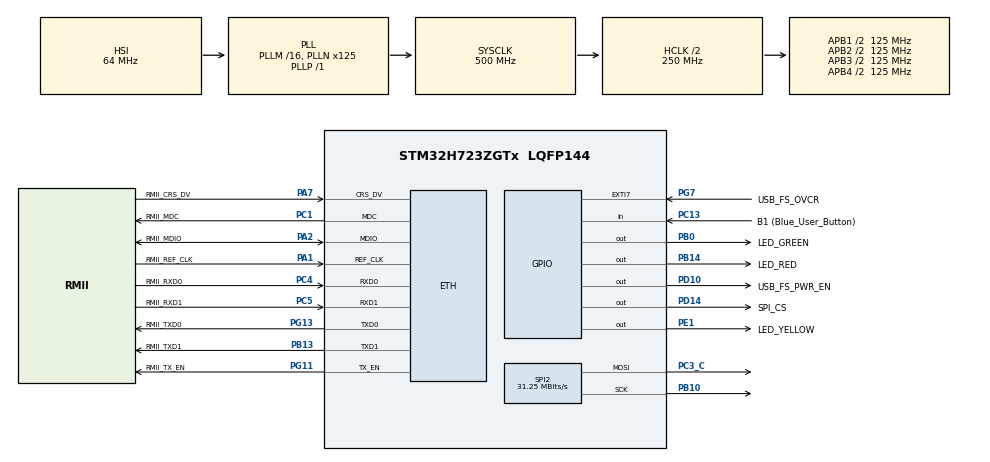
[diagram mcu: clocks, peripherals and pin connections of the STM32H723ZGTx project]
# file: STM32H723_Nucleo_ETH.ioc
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CORTEX_M7.AccessPermission_S-Cortex_Memory_Protection_Unit_Region1_Settings_S=MPU_REGION_FULL_ACCESS
CORTEX_M7.AccessPermission_S-Cortex_Memory_Protection_Unit_Region2_Settings_S=MPU_REGION_FULL_ACCESS
CORTEX_M7.BaseAddress_S-Cortex_Memory_Protection_Unit_Region1_Settings_S=0x30000000
CORTEX_M7.BaseAddress_S-Cortex_Memory_Protection_Unit_Region2_Settings_S=0x30000000
CORTEX_M7.CPU_DCache=Enabled
CORTEX_M7.CPU_ICache=Enabled
CORTEX_M7.DisableExec_S-Cortex_Memory_Protection_Unit_Region1_Settings_S=MPU_INSTRUCTION_ACCESS_DISABLE
CORTEX_M7.DisableExec_S-Cortex_Memory_Protection_Unit_Region2_Settings_S=MPU_INSTRUCTION_ACCESS_DISABLE
CORTEX_M7.Enable_S-Cortex_Memory_Protection_Unit_Region1_Settings_S=MPU_REGION_ENABLE
CORTEX_M7.Enable_S-Cortex_Memory_Protection_Unit_Region2_Settings_S=MPU_REGION_ENABLE
CORTEX_M7.IsBufferable_S-Cortex_Memory_Protection_Unit_Region2_Settings_S=MPU_ACCESS_BUFFERABLE
CORTEX_M7.IsShareable_S-Cortex_Memory_Protection_Unit_Region2_Settings_S=MPU_ACCESS_SHAREABLE
CORTEX_M7.Size_S-Cortex_Memory_Protection_Unit_Region1_Settings_S=MPU_REGION_SIZE_32KB
CORTEX_M7.Size_S-Cortex_Memory_Protection_Unit_Region2_Settings_S=MPU_REGION_SIZE_512B
CORTEX_M7.TypeExtField_S-Cortex_Memory_Protection_Unit_Region1_Settings_S=MPU_TEX_LEVEL1
CORTEX_M7.default_mode_Activation=1
ETH.MediaInterface=HAL_ETH_RMII_MODE
ETH.RxBuffAddress=0x30000200
ETH.RxBuffLen=1536
ETH.TxDescAddress=0x30000100
FREERTOS.Queues01=mySPIQueue,16,uint16_t,0,Dynamic,NULL,NULL
FREERTOS.Tasks01=defaultTask,24,512,StartDefaultTask,Default,NULL,Dynamic,NULL,NULL;SPITask,32,512,StartSPITask,Default,NULL,Dynamic,NULL,NULL
FREERTOS.configCHECK_FOR_STACK_OVERFLOW=1
FREERTOS.configMINIMAL_STACK_SIZE=512
FREERTOS.configTOTAL_HEAP_SIZE=30*1024
FREERTOS.configUSE_NEWLIB_REENTRANT=1
LWIP.BSP.number=1
LWIP.DEFAULT_THREAD_STACKSIZE=2048
LWIP.IP_ADDRESS=192.168.001.010
LWIP.LWIP_DHCP=0
LWIP.LWIP_RAM_HEAP_POINTER=0x30000200
LWIP.MEM_SIZE=32232
LWIP.NETMASK_ADDRESS=255.255.255.000
LWIP.TCPIP_THREAD_STACKSIZE=2048
LWIP.TCP_MSS=1460
LWIP.TCP_SND_BUF=5840
LWIP.TCP_SND_QUEUELEN=16
LWIP.Version=v2.1.2_Cube
LWIP0.BSP.STBoard=false
LWIP0.BSP.api=BSP_COMPONENT_DRIVER
LWIP0.BSP.component=LAN8742
LWIP0.BSP.instance=LAN8742
LWIP0.BSP.name=Driver_PHY
LWIP0.BSP.semaphore=S_LAN8742
LWIP0.BSP.solution=LAN8742
Mcu.Family=STM32H7
Mcu.Name=STM32H723ZGTx
Mcu.Package=LQFP144
NVIC.ETH_IRQn=true\:5\:0\:false\:false\:true\:true\:true\:true\:true
NVIC.PriorityGroup=NVIC_PRIORITYGROUP_4
NVIC.TIM6_DAC_IRQn=true\:15\:0\:false\:false\:true\:false\:false\:true\:true
NVIC.TimeBase=TIM6_DAC_IRQn
NVIC.TimeBaseIP=TIM6
PA1.GPIO_Label=RMII_REF_CLK
PA1.GPIO_Speed=GPIO_SPEED_FREQ_VERY_HIGH
PA1.Mode=RMII
PA1.Signal=ETH_REF_CLK
PA10.GPIO_Label=USB_FS_ID
PA10.Signal=USB_OTG_HS_ID
PA13(JTMS/SWDIO).GPIO_Label=SWDIO
PA13(JTMS/SWDIO).Signal=DEBUG_JTMS-SWDIO
PA14(JTCK/SWCLK).GPIO_Label=SWCLK
PA14(JTCK/SWCLK).Signal=DEBUG_JTCK-SWCLK
PA2.GPIO_Label=RMII_MDIO
PA2.GPIO_Speed=GPIO_SPEED_FREQ_VERY_HIGH
PA2.Mode=RMII
PA2.Signal=ETH_MDIO
PA7.GPIO_Label=RMII_CRS_DV
PA7.GPIO_Speed=GPIO_SPEED_FREQ_VERY_HIGH
PA7.Mode=RMII
PA7.Signal=ETH_CRS_DV
PA9.GPIO_Label=USB_FS_VBUS
PA9.Signal=USB_OTG_HS_VBUS
PB0.GPIO_Label=LED_GREEN
PB0.Signal=GPIO_Output
PB10.Mode=TX_Only_Simplex_Unidirect_Master
PB10.Signal=SPI2_SCK
PB13.GPIO_Label=RMII_TXD1
PB13.GPIO_Speed=GPIO_SPEED_FREQ_VERY_HIGH
PB13.Mode=RMII
PB13.Signal=ETH_TXD1
PB14.GPIO_Label=LED_RED
PB14.Signal=GPIO_Output
PB3(JTDO/TRACESWO).GPIO_Label=SWO
PB3(JTDO/TRACESWO).Signal=DEBUG_JTDO-SWO
PC1.GPIO_Label=RMII_MDC
PC1.GPIO_Speed=GPIO_SPEED_FREQ_VERY_HIGH
PC1.Mode=RMII
PC1.Signal=ETH_MDC
PC13.GPIO_Label=B1 (Blue_User_Button)
PC13.Signal=GPIO_Input
PC14-OSC32_IN.Signal=RCC_OSC32_IN
PC15-OSC32_OUT.Signal=RCC_OSC32_OUT
PC3_C.Mode=TX_Only_Simplex_Unidirect_Master
PC3_C.Signal=SPI2_MOSI
PC4.GPIO_Label=RMII_RXD0
PC4.GPIO_Speed=GPIO_SPEED_FREQ_VERY_HIGH
PC4.Mode=RMII
PC4.Signal=ETH_RXD0
PC5.GPIO_Label=RMII_RXD1
PC5.GPIO_Speed=GPIO_SPEED_FREQ_VERY_HIGH
PC5.Mode=RMII
PC5.Signal=ETH_RXD1
PD10.GPIO_Label=USB_FS_PWR_EN
PD10.Signal=GPIO_Output
PD14.GPIO_Label=SPI_CS
PD14.PinState=GPIO_PIN_SET
PD14.Signal=GPIO_Output
PD8.GPIO_Label=STLK_VCP_RX
PD8.Signal=USART3_TX
PD9.GPIO_Label=STLK_VCP_TX
PD9.Signal=USART3_RX
PE1.GPIO_Label=LED_YELLOW
PE1.Signal=GPIO_Output
PG11.GPIO_Label=RMII_TX_EN
PG11.GPIO_Speed=GPIO_SPEED_FREQ_VERY_HIGH
PG11.Mode=RMII
PG11.Signal=ETH_TX_EN
PG13.GPIO_Label=RMII_TXD0
PG13.GPIO_Speed=GPIO_SPEED_FREQ_VERY_HIGH
PG13.Mode=RMII
PG13.Signal=ETH_TXD0
PG7.GPIO_Label=USB_FS_OVCR
PG7.Signal=GPXTI7
PH0-OSC_IN.GPIO_Label=MCO
PH0-OSC_IN.Signal=RCC_OSC_IN
PH1-OSC_OUT.Signal=RCC_OSC_OUT
ProjectManager.HeapSize=0x200
ProjectManager.StackSize=0x400
ProjectManager.TargetToolchain=STM32CubeIDE
RCC.ADCFreq_Value=608000000
RCC.APB1Freq_Value=125000000
RCC.APB2Freq_Value=125000000
RCC.APB3Freq_Value=125000000
RCC.APB4Freq_Value=125000000
RCC.CortexFreq_Value=500000000
RCC.D1PPRE=RCC_APB3_DIV2
RCC.D2PPRE1=RCC_APB1_DIV2
RCC.D2PPRE2=RCC_APB2_DIV2
RCC.D3PPRE=RCC_APB4_DIV2
RCC.DIVM1=16
RCC.DIVM2=1
RCC.DIVN1=125
RCC.DIVN2=19
RCC.DIVP1=1
RCC.DIVQ1=4
RCC.HCLKFreq_Value=250000000
RCC.HPRE=RCC_HCLK_DIV2
RCC.HSE_VALUE=8000000
RCC.PLLFRACN=0
RCC.SYSCLKFreq_VALUE=500000000
RCC.SYSCLKSource=RCC_SYSCLKSOURCE_PLLCLK
RCC.USBCLockSelection=RCC_USBCLKSOURCE_HSI48
RCC.USBFreq_Value=48000000
SPI2.BaudRatePrescaler=SPI_BAUDRATEPRESCALER_4
SPI2.CalculateBaudRate=31.25 MBits/s
SPI2.DataSize=SPI_DATASIZE_8BIT
SPI2.Direction=SPI_DIRECTION_2LINES_TXONLY
SPI2.Mode=SPI_MODE_MASTER
SPI2.VirtualType=VM_MASTER
VP_FREERTOS_VS_CMSIS_V2.Mode=CMSIS_V2
VP_LWIP_VS_Enabled.Mode=Enabled
VP_SYS_VS_tim6.Mode=TIM6
board=NUCLEO-H723ZG

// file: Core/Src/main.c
/* USER CODE BEGIN Header */
/**
  ******************************************************************************
  * @file           : main.c
  * @brief          : Main program body
  ******************************************************************************
  * @attention
  *
  * Copyright (c) 2022 STMicroelectronics.
  * All rights reserved.
  *
  * This software is licensed under terms that can be found in the LICENSE file
  * in the root directory of this software component.
  * If no LICENSE file comes with this software, it is provided AS-IS.
  *
  ******************************************************************************
  */
/* USER CODE END Header */
#include "main.h"
#include "cmsis_os.h"
#include "lwip.h"

/* USER CODE BEGIN Includes */
/* ETH_CODE: add lwiperf, see comment in StartDefaultTask function */
#include "lwip/apps/lwiperf.h"
#include "lwip/udp.h"
#include <string.h>
/* USER CODE END Includes */

/* USER CODE BEGIN PTD */
#define SPI_BUFFER_SIZE 128 // Adjust this based on your max packet size

typedef struct {
    uint8_t buffer[SPI_BUFFER_SIZE];
    uint16_t len;
} AppSpiMsg_t;
/* USER CODE END PTD */

SPI_HandleTypeDef hspi2;

/* Definitions for defaultTask */
osThreadId_t defaultTaskHandle;
const osThreadAttr_t defaultTask_attributes = {
  .name = "defaultTask",
  .stack_size = 512 * 4,
  .priority = (osPriority_t) osPriorityNormal,
};
/* Definitions for SPITask */
osThreadId_t SPITaskHandle;
const osThreadAttr_t SPITask_attributes = {
  .name = "SPITask",
  .stack_size = 512 * 4,
  .priority = (osPriority_t) osPriorityAboveNormal,
};
/* Definitions for mySPIQueue */
osMessageQueueId_t mySPIQueueHandle;
const osMessageQueueAttr_t mySPIQueue_attributes = {
  .name = "mySPIQueue"
};

void SystemClock_Config(void);
static void MPU_Config(void);
static void MX_GPIO_Init(void);
static void MX_SPI2_Init(void);
void StartDefaultTask(void *argument);
void StartSPITask(void *argument);

/* USER CODE BEGIN 0 */
void udp_receive_callback(void *arg, struct udp_pcb *pcb, struct pbuf *p, const ip_addr_t *addr, u16_t port)
{
    if (p != NULL)
    {
        AppSpiMsg_t msg;

        // 1. Cap the length to prevent buffer overflow
        msg.len = (p->len > SPI_BUFFER_SIZE) ? SPI_BUFFER_SIZE : p->len;

        // 2. Copy data from LwIP pbuf to our message struct
        // (We must copy because pbuf_free destroys the memory immediately after)
        pbuf_copy_partial(p, msg.buffer, msg.len, 0);

        // 3. Push to Queue (Wait 0 ticks. If queue is full, we drop the packet)
        osMessageQueuePut(mySPIQueueHandle, &msg, 0, 0);

        // 4. Free the LwIP buffer
        pbuf_free(p);
    }
}
/* USER CODE END 0 */

int main(void)
{

  /* MPU Configuration--------------------------------------------------------*/
  MPU_Config();

  /* Enable I-Cache---------------------------------------------------------*/
  SCB_EnableICache();

  /* Enable D-Cache---------------------------------------------------------*/
  SCB_EnableDCache();

  /* MCU Configuration--------------------------------------------------------*/

  /* Reset of all peripherals, Initializes the Flash interface and the Systick. */
  HAL_Init();

  /* Configure the system clock */
  SystemClock_Config();

  /* Initialize all configured peripherals */
  MX_GPIO_Init();
  MX_SPI2_Init();

  /* Init scheduler */
  osKernelInitialize();

  /* Create the queue(s) */
  /* creation of mySPIQueue */
  mySPIQueueHandle = osMessageQueueNew (16, sizeof(AppSpiMsg_t), &mySPIQueue_attributes);

  /* Create the thread(s) */
  /* creation of defaultTask */
  defaultTaskHandle = osThreadNew(StartDefaultTask, NULL, &defaultTask_attributes);

  /* creation of SPITask */
  SPITaskHandle = osThreadNew(StartSPITask, NULL, &SPITask_attributes);

  /* Start scheduler */
  osKernelStart();

  /* We should never get here as control is now taken by the scheduler */
  /* Infinite loop */
  while (1)
  {

  }
}

void SystemClock_Config(void)
{
  RCC_OscInitTypeDef RCC_OscInitStruct = {0};
  RCC_ClkInitTypeDef RCC_ClkInitStruct = {0};

  /** Supply configuration update enable
  */
  HAL_PWREx_ConfigSupply(PWR_LDO_SUPPLY);

  /** Configure the main internal regulator output voltage
  */
  __HAL_PWR_VOLTAGESCALING_CONFIG(PWR_REGULATOR_VOLTAGE_SCALE0);

  while(!__HAL_PWR_GET_FLAG(PWR_FLAG_VOSRDY)) {}

  /** Initializes the RCC Oscillators according to the specified parameters
  * in the RCC_OscInitTypeDef structure.
  */
  RCC_OscInitStruct.OscillatorType = RCC_OSCILLATORTYPE_HSI;
  RCC_OscInitStruct.HSIState = RCC_HSI_DIV1;
  RCC_OscInitStruct.HSICalibrationValue = RCC_HSICALIBRATION_DEFAULT;
  RCC_OscInitStruct.PLL.PLLState = RCC_PLL_ON;
  RCC_OscInitStruct.PLL.PLLSource = RCC_PLLSOURCE_HSI;
  RCC_OscInitStruct.PLL.PLLM = 16;
  RCC_OscInitStruct.PLL.PLLN = 125;
  RCC_OscInitStruct.PLL.PLLP = 1;
  RCC_OscInitStruct.PLL.PLLQ = 4;
  RCC_OscInitStruct.PLL.PLLR = 2;
  RCC_OscInitStruct.PLL.PLLRGE = RCC_PLL1VCIRANGE_2;
  RCC_OscInitStruct.PLL.PLLVCOSEL = RCC_PLL1VCOWIDE;
  RCC_OscInitStruct.PLL.PLLFRACN = 0;
  if (HAL_RCC_OscConfig(&RCC_OscInitStruct) != HAL_OK)
  {
    Error_Handler();
  }

  /** Initializes the CPU, AHB and APB buses clocks
  */
  RCC_ClkInitStruct.ClockType = RCC_CLOCKTYPE_HCLK|RCC_CLOCKTYPE_SYSCLK
                              |RCC_CLOCKTYPE_PCLK1|RCC_CLOCKTYPE_PCLK2
                              |RCC_CLOCKTYPE_D3PCLK1|RCC_CLOCKTYPE_D1PCLK1;
  RCC_ClkInitStruct.SYSCLKSource = RCC_SYSCLKSOURCE_PLLCLK;
  RCC_ClkInitStruct.SYSCLKDivider = RCC_SYSCLK_DIV1;
  RCC_ClkInitStruct.AHBCLKDivider = RCC_HCLK_DIV2;
  RCC_ClkInitStruct.APB3CLKDivider = RCC_APB3_DIV2;
  RCC_ClkInitStruct.APB1CLKDivider = RCC_APB1_DIV2;
  RCC_ClkInitStruct.APB2CLKDivider = RCC_APB2_DIV2;
  RCC_ClkInitStruct.APB4CLKDivider = RCC_APB4_DIV2;

  if (HAL_RCC_ClockConfig(&RCC_ClkInitStruct, FLASH_LATENCY_3) != HAL_OK)
  {
    Error_Handler();
  }
}

static void MX_SPI2_Init(void)
{

  /* SPI2 parameter configuration*/
  hspi2.Instance = SPI2;
  hspi2.Init.Mode = SPI_MODE_MASTER;
  hspi2.Init.Direction = SPI_DIRECTION_2LINES_TXONLY;
  hspi2.Init.DataSize = SPI_DATASIZE_8BIT;
  hspi2.Init.CLKPolarity = SPI_POLARITY_LOW;
  hspi2.Init.CLKPhase = SPI_PHASE_1EDGE;
  hspi2.Init.NSS = SPI_NSS_SOFT;
  hspi2.Init.BaudRatePrescaler = SPI_BAUDRATEPRESCALER_4;
  hspi2.Init.FirstBit = SPI_FIRSTBIT_MSB;
  hspi2.Init.TIMode = SPI_TIMODE_DISABLE;
  hspi2.Init.CRCCalculation = SPI_CRCCALCULATION_DISABLE;
  hspi2.Init.CRCPolynomial = 0x0;
  hspi2.Init.NSSPMode = SPI_NSS_PULSE_ENABLE;
  hspi2.Init.NSSPolarity = SPI_NSS_POLARITY_LOW;
  hspi2.Init.FifoThreshold = SPI_FIFO_THRESHOLD_01DATA;
  hspi2.Init.TxCRCInitializationPattern = SPI_CRC_INITIALIZATION_ALL_ZERO_PATTERN;
  hspi2.Init.RxCRCInitializationPattern = SPI_CRC_INITIALIZATION_ALL_ZERO_PATTERN;
  hspi2.Init.MasterSSIdleness = SPI_MASTER_SS_IDLENESS_00CYCLE;
  hspi2.Init.MasterInterDataIdleness = SPI_MASTER_INTERDATA_IDLENESS_00CYCLE;
  hspi2.Init.MasterReceiverAutoSusp = SPI_MASTER_RX_AUTOSUSP_DISABLE;
  hspi2.Init.MasterKeepIOState = SPI_MASTER_KEEP_IO_STATE_DISABLE;
  hspi2.Init.IOSwap = SPI_IO_SWAP_DISABLE;
  if (HAL_SPI_Init(&hspi2) != HAL_OK)
  {
    Error_Handler();
  }

}

static void MX_GPIO_Init(void)
{
  GPIO_InitTypeDef GPIO_InitStruct = {0};

  /* GPIO Ports Clock Enable */
  __HAL_RCC_GPIOC_CLK_ENABLE();
  __HAL_RCC_GPIOH_CLK_ENABLE();
  __HAL_RCC_GPIOA_CLK_ENABLE();
  __HAL_RCC_GPIOB_CLK_ENABLE();
  __HAL_RCC_GPIOD_CLK_ENABLE();
  __HAL_RCC_GPIOG_CLK_ENABLE();
  __HAL_RCC_GPIOE_CLK_ENABLE();

  /*Configure GPIO pin Output Level */
  HAL_GPIO_WritePin(GPIOB, LED_GREEN_Pin|LED_RED_Pin, GPIO_PIN_RESET);

  /*Configure GPIO pin Output Level */
  HAL_GPIO_WritePin(USB_FS_PWR_EN_GPIO_Port, USB_FS_PWR_EN_Pin, GPIO_PIN_RESET);

  /*Configure GPIO pin Output Level */
  HAL_GPIO_WritePin(SPI_CS_GPIO_Port, SPI_CS_Pin, GPIO_PIN_SET);

  /*Configure GPIO pin Output Level */
  HAL_GPIO_WritePin(LED_YELLOW_GPIO_Port, LED_YELLOW_Pin, GPIO_PIN_RESET);

  /*Configure GPIO pin : B1_Pin */
  GPIO_InitStruct.Pin = B1_Pin;
  GPIO_InitStruct.Mode = GPIO_MODE_INPUT;
  GPIO_InitStruct.Pull = GPIO_NOPULL;
  HAL_GPIO_Init(B1_GPIO_Port, &GPIO_InitStruct);

  /*Configure GPIO pins : LED_GREEN_Pin LED_RED_Pin */
  GPIO_InitStruct.Pin = LED_GREEN_Pin|LED_RED_Pin;
  GPIO_InitStruct.Mode = GPIO_MODE_OUTPUT_PP;
  GPIO_InitStruct.Pull = GPIO_NOPULL;
  GPIO_InitStruct.Speed = GPIO_SPEED_FREQ_LOW;
  HAL_GPIO_Init(GPIOB, &GPIO_InitStruct);

  /*Configure GPIO pins : STLK_VCP_RX_Pin STLK_VCP_TX_Pin */
  GPIO_InitStruct.Pin = STLK_VCP_RX_Pin|STLK_VCP_TX_Pin;
  GPIO_InitStruct.Mode = GPIO_MODE_AF_PP;
  GPIO_InitStruct.Pull = GPIO_NOPULL;
  GPIO_InitStruct.Speed = GPIO_SPEED_FREQ_LOW;
  GPIO_InitStruct.Alternate = GPIO_AF7_USART3;
  HAL_GPIO_Init(GPIOD, &GPIO_InitStruct);

  /*Configure GPIO pins : USB_FS_PWR_EN_Pin SPI_CS_Pin */
  GPIO_InitStruct.Pin = USB_FS_PWR_EN_Pin|SPI_CS_Pin;
  GPIO_InitStruct.Mode = GPIO_MODE_OUTPUT_PP;
  GPIO_InitStruct.Pull = GPIO_NOPULL;
  GPIO_InitStruct.Speed = GPIO_SPEED_FREQ_LOW;
  HAL_GPIO_Init(GPIOD, &GPIO_InitStruct);

  /*Configure GPIO pin : USB_FS_OVCR_Pin */
  GPIO_InitStruct.Pin = USB_FS_OVCR_Pin;
  GPIO_InitStruct.Mode = GPIO_MODE_IT_RISING;
  GPIO_InitStruct.Pull = GPIO_NOPULL;
  HAL_GPIO_Init(USB_FS_OVCR_GPIO_Port, &GPIO_InitStruct);

  /*Configure GPIO pin : USB_FS_ID_Pin */
  GPIO_InitStruct.Pin = USB_FS_ID_Pin;
  GPIO_InitStruct.Mode = GPIO_MODE_AF_PP;
  GPIO_InitStruct.Pull = GPIO_NOPULL;
  GPIO_InitStruct.Speed = GPIO_SPEED_FREQ_LOW;
  GPIO_InitStruct.Alternate = GPIO_AF10_OTG1_HS;
  HAL_GPIO_Init(USB_FS_ID_GPIO_Port, &GPIO_InitStruct);

  /*Configure GPIO pin : LED_YELLOW_Pin */
  GPIO_InitStruct.Pin = LED_YELLOW_Pin;
  GPIO_InitStruct.Mode = GPIO_MODE_OUTPUT_PP;
  GPIO_InitStruct.Pull = GPIO_NOPULL;
  GPIO_InitStruct.Speed = GPIO_SPEED_FREQ_LOW;
  HAL_GPIO_Init(LED_YELLOW_GPIO_Port, &GPIO_InitStruct);

}

void StartDefaultTask(void *argument)
{
  /* init code for LWIP */
  MX_LWIP_Init();
  /* USER CODE BEGIN 5 */

  // 1. Create a new UDP Control Block
  struct udp_pcb *pcb = udp_new();

  if (pcb != NULL)
  {
      // 2. Bind to IP_ADDR_ANY (listen to everyone) on Port 55151
      err_t err = udp_bind(pcb, IP_ADDR_ANY, 55151);

      if (err == ERR_OK)
      {
          // 3. Register the callback function we wrote above
          udp_recv(pcb, udp_receive_callback, NULL);
      }
      else
      {
          // Optional: Handle Bind Error (e.g., Blink Red LED)
          udp_remove(pcb);
      }
  }

  /* Infinite loop - LwIP runs in the background, we just sleep */
  for(;;)
  {
    osDelay(1000);
  }
  /* USER CODE END 5 */
}

void StartSPITask(void *argument)
{
  /* USER CODE BEGIN StartSPITask */
  AppSpiMsg_t rx_msg;
  osStatus_t status;

  /* Infinite loop */
  for(;;)
  {
    // 1. Wait forever until data arrives in the Queue
    // This blocks efficiently (consumes 0 CPU while waiting)
    status = osMessageQueueGet(mySPIQueueHandle, &rx_msg, NULL, osWaitForever);

    if (status == osOK)
    {
        // 2. Chip Select LOW (Select the Slave)
        HAL_GPIO_WritePin(SPI_CS_GPIO_Port, SPI_CS_Pin, GPIO_PIN_RESET);

        // 3. Transmit the data via SPI (Blocking is okay here, we are in our own task)
        HAL_SPI_Transmit(&hspi2, rx_msg.buffer, rx_msg.len, 100);

        // 4. Chip Select HIGH (Deselect the Slave)
        HAL_GPIO_WritePin(SPI_CS_GPIO_Port, SPI_CS_Pin, GPIO_PIN_SET);

        // Optional: Toggle Yellow LED to show activity
        HAL_GPIO_TogglePin(LED_YELLOW_GPIO_Port, LED_YELLOW_Pin);
    }
  }
  /* USER CODE END StartSPITask */
}

/* MPU Configuration */

void MPU_Config(void)
{
  MPU_Region_InitTypeDef MPU_InitStruct = {0};

  /* Disables the MPU */
  HAL_MPU_Disable();

  /** Initializes and configures the Region and the memory to be protected
  */
  MPU_InitStruct.Enable = MPU_REGION_ENABLE;
  MPU_InitStruct.Number = MPU_REGION_NUMBER0;
  MPU_InitStruct.BaseAddress = 0x0;
  MPU_InitStruct.Size = MPU_REGION_SIZE_4GB;
  MPU_InitStruct.SubRegionDisable = 0x87;
  MPU_InitStruct.TypeExtField = MPU_TEX_LEVEL0;
  MPU_InitStruct.AccessPermission = MPU_REGION_NO_ACCESS;
  MPU_InitStruct.DisableExec = MPU_INSTRUCTION_ACCESS_DISABLE;
  MPU_InitStruct.IsShareable = MPU_ACCESS_SHAREABLE;
  MPU_InitStruct.IsCacheable = MPU_ACCESS_NOT_CACHEABLE;
  MPU_InitStruct.IsBufferable = MPU_ACCESS_NOT_BUFFERABLE;

  HAL_MPU_ConfigRegion(&MPU_InitStruct);

  /** Initializes and configures the Region and the memory to be protected
  */
  MPU_InitStruct.Number = MPU_REGION_NUMBER1;
  MPU_InitStruct.BaseAddress = 0x30000000;
  MPU_InitStruct.Size = MPU_REGION_SIZE_32KB;
  MPU_InitStruct.SubRegionDisable = 0x0;
  MPU_InitStruct.TypeExtField = MPU_TEX_LEVEL1;
  MPU_InitStruct.AccessPermission = MPU_REGION_FULL_ACCESS;
  MPU_InitStruct.IsShareable = MPU_ACCESS_NOT_SHAREABLE;

  HAL_MPU_ConfigRegion(&MPU_InitStruct);

  /** Initializes and configures the Region and the memory to be protected
  */
  MPU_InitStruct.Number = MPU_REGION_NUMBER2;
  MPU_InitStruct.Size = MPU_REGION_SIZE_512B;
  MPU_InitStruct.TypeExtField = MPU_TEX_LEVEL0;
  MPU_InitStruct.IsShareable = MPU_ACCESS_SHAREABLE;
  MPU_InitStruct.IsBufferable = MPU_ACCESS_BUFFERABLE;

  HAL_MPU_ConfigRegion(&MPU_InitStruct);
  /* Enables the MPU */
  HAL_MPU_Enable(MPU_PRIVILEGED_DEFAULT);

}

void HAL_TIM_PeriodElapsedCallback(TIM_HandleTypeDef *htim)
{
  if (htim->Instance == TIM6) {
    HAL_IncTick();
  }
}

void Error_Handler(void)
{
  __disable_irq();
  while (1)
  {
  }
}
